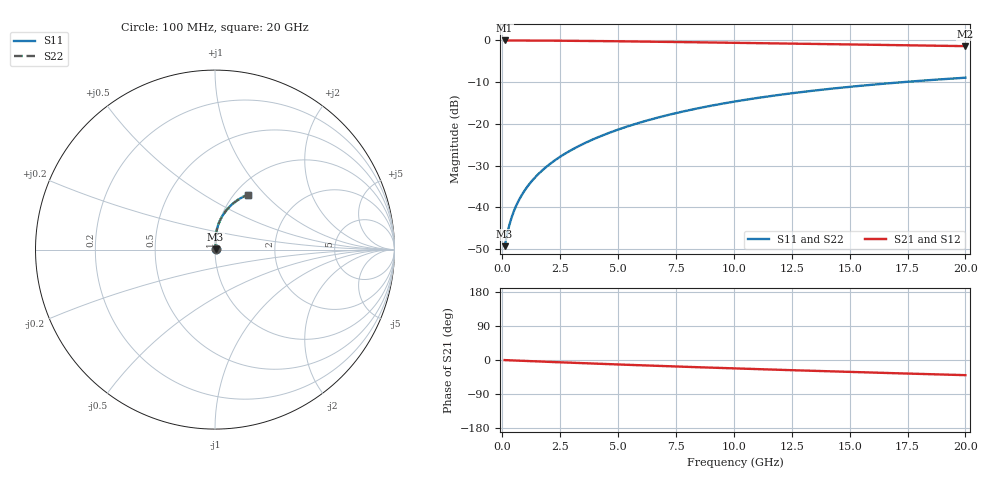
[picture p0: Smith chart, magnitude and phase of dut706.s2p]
! Touchstone file exported from HFSS 2024.1.0
!  File:  C:/UserFiles/LocalFiles/RDL_TSV_Batchsim/temp_RDL_top_706_1779849973.aedt
!  Generated:  10:48:47 AM May 27, 2026
!  Design:  RDL_top
!  Project:  temp_RDL_top_706_1779849973
!  Setup:  Setup1
!  Solution:  Sweep
! Variables:
!  dtsv = 10.80580581um
!  hbump = 3um
!  htsv = 92.13um
!  ldown = 100um
!  lrdl = 537.65um
!  p = 40
!  p1 = 58.37um
!  rhole = 1um
!  t = 450um
!  tdown = 3.915915916um
!  trdl = 2.69um
!  wdown = 15.38538539um
!  wrdl = 27.03um
# GHz S MA R 50.000000
! Terminal data exported
! Port[1] = Box2_T1
! Port[2] = Box2_T2
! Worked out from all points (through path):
!   200 points, 100 MHz to 20 GHz, reference 50 ohm
!   highest |S21| = -0.03 dB at 100 MHz (marker M1); lowest = -1.4 dB at 20 GHz (marker M2)
!   group delay of S21, straight-line fit = 5.5 ps
!   lowest |S11| = -49.3 dB at 100 MHz (marker M3), VSWR 1.01, Z = 50.3 + j0.179 ohm
!   |S11| at or under -10 dB: start of sweep to 17.33 GHz
!   |S22| runs from -49.3 to -9.0 dB; largest |S21 - S12| = 3.4e-15
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0.1  0.003421 31.3  0.9971 -0.3  0.9971 -0.3  0.003421 31.3
! Gamma 0 0 0 0
! Port Impedance 50 0 50 0
0.2  0.00464 49.0  0.9969 -0.5  0.9969 -0.5  0.00464 49.0
0.3  0.006061 58.3  0.9967 -0.8  0.9967 -0.8  0.006061 58.3
0.4  0.007522 63.8  0.9965 -1.0  0.9965 -1.0  0.007522 63.8
0.5  0.008987 67.6  0.9963 -1.3  0.9963 -1.3  0.008987 67.6
0.6  0.01045 70.4  0.9961 -1.5  0.9961 -1.5  0.01045 70.4
0.8  0.01341 74.4  0.9956 -2.0  0.9956 -2.0  0.01341 74.4
1.1  0.01793 78.3  0.995 -2.7  0.995 -2.7  0.01793 78.3
1.3  0.021 80.1  0.9944 -3.2  0.9944 -3.2  0.021 80.1
1.6  0.0257 82.0  0.9936 -3.9  0.9936 -3.9  0.0257 82.0
2.1  0.03372 84.1  0.9917 -5.1  0.9917 -5.1  0.03373 84.1
2.7  0.04371 85.5  0.9891 -6.5  0.9891 -6.5  0.04371 85.5
3.5  0.05759 86.4  0.9847 -8.4  0.9847 -8.4  0.05759 86.4
4.2  0.07026 86.5  0.9803 -10.0  0.9803 -10.0  0.07026 86.5
5  0.08525 86.1  0.9748 -11.8  0.9748 -11.8  0.08526 86.2
6.8  0.1204 84.1  0.9611 -15.7  0.9611 -15.7  0.1204 84.1
8.4  0.1524 81.4  0.9482 -19.0  0.9482 -19.0  0.1524 81.4
10.1  0.1862 78.2  0.9342 -22.3  0.9342 -22.3  0.1862 78.2
11.7  0.2172 75.0  0.9209 -25.4  0.9209 -25.4  0.2172 75.0
13.4  0.2489 71.6  0.9068 -28.5  0.9068 -28.5  0.2489 71.6
16.7  0.3061 65.1  0.8794 -34.4  0.8794 -34.4  0.3061 65.1
20  0.3568 59.1  0.8524 -40.0  0.8524 -40.0  0.3569 59.1
